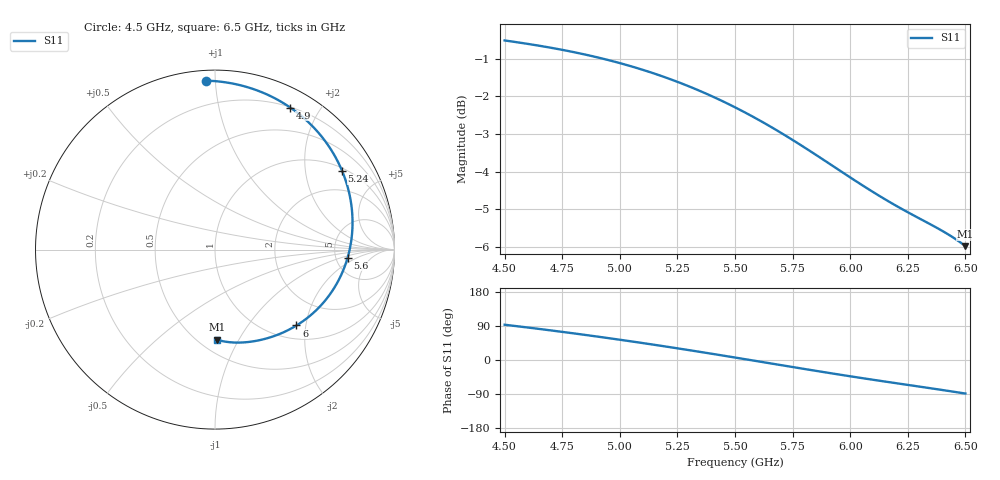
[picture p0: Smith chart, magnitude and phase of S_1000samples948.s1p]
! TOUCHSTONE file generated by CST MICROWAVE STUDIO
! Date and time: Sat Oct 29 21:40:18 2022
! Project name: L.cst
! Parameters = {Di=1.27; Epsilon_r=1.56; InnerDiameter=1.27; Length=2; Lf=10; Lg=60; OuterConductorThickness=0.2921; OuterDiameter=3.6; Wf=3; Wp=41.2; de=1.5; df=6.8; g=0.8; gx=1.38525; gy=4.50399; h=2.34; hf=1.524; px=9.86175; py=13.4652; w=9.7; wx=8.47649; wy=8.96121}
! Header version: 2018
! Port assignment regex: !\s*Touchstone port\s*([0-9]+)\s*=\s*(CST MWS port|CST DS port)\s*([0-9]+|Zmin|Zmax)\s*\(\"(.*)\"\)(\s*mode\s*([0-9]+))?.*
! Touchstone port assignment:
! Touchstone port 1 = CST MWS port 1 ("")
# GHz S DB R 50
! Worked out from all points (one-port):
!   101 points, 4.5 GHz to 6.5 GHz, reference 50 ohm
!   lowest |S11| = -6.0 dB at 6.5 GHz (marker M1), VSWR 3.02, Z = 30.5 - j41 ohm
!   |S11| at or under -10 dB: nowhere
!   S11 on the Smith chart (normalised r, x): 4.5 GHz: 0.06, +0.95; 4.9 GHz: 0.21, +1.64; 5.24 GHz: 1.10, +3.16; 5.6 GHz: 6.44, -1.28; 6 GHz: 1.29, -1.77; 6.5 GHz: 0.61, -0.82
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4.5  -0.51 93.1
4.58  -0.58 87.2
4.64  -0.64 82.7
4.76  -0.77 73.4
4.84  -0.87 67.0
4.9  -0.96 62.0
5  -1.11 53.5
5.12  -1.33 42.8
5.18  -1.46 37.3
5.24  -1.59 31.8
5.26  -1.63 29.9
5.32  -1.78 24.2
5.38  -1.94 18.3
5.44  -2.11 12.5
5.5  -2.29 6.5
5.6  -2.61 -3.5
5.68  -2.89 -11.5
5.76  -3.19 -19.5
5.82  -3.43 -25.5
5.88  -3.66 -31.4
5.94  -3.91 -37.2
6  -4.15 -42.9
6.12  -4.61 -54.1
6.18  -4.83 -59.5
6.26  -5.11 -66.6
6.38  -5.50 -77.4
6.44  -5.72 -82.9
6.5  -5.97 -88.5
